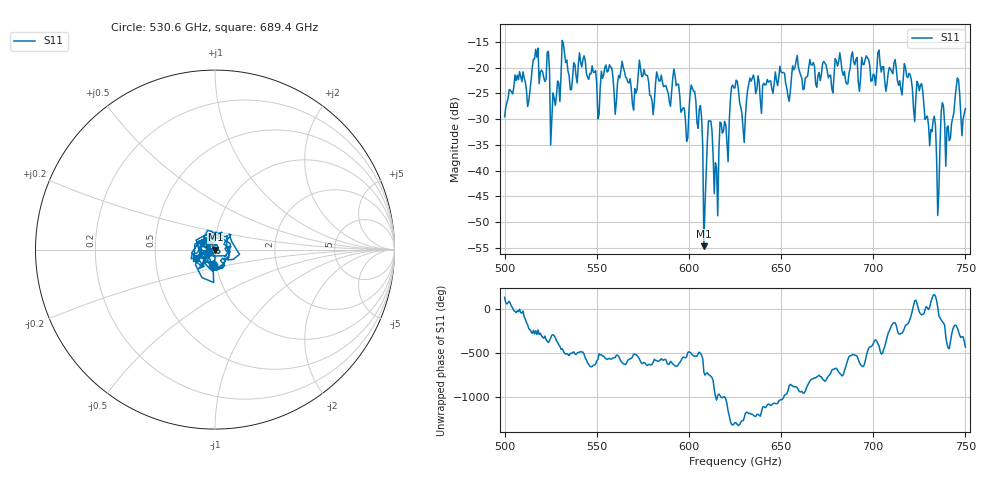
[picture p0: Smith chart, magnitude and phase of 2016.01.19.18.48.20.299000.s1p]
!Created with skrf (http://scikit-rf.org).
# GHz S RI R 50.0
!freq ReS11 ImS11
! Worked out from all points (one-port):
!   401 points, 500 GHz to 750 GHz, reference 50 ohm
!   lowest |S11| = -54.7 dB at 608.1 GHz (marker M1), VSWR 1.00, Z = 50.2 + j0.0115 ohm
!   |S11| at or under -10 dB: start of sweep to end of sweep
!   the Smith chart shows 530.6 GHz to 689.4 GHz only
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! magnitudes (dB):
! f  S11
! 500 GHz  -29.5
! 506.9 GHz  -21.5
! 513.1 GHz  -26.5
! 516.9 GHz  -16.4
! 523.1 GHz  -17.1
! 526.2 GHz  -24.9
! 531.2 GHz  -14.7
! 550.6 GHz  -30.0
! 562.5 GHz  -22.0
! 593.8 GHz  -23.2
! 598.8 GHz  -34.3
! 602.5 GHz  -24.6
! 606.2 GHz  -27.4
! 608.1 GHz  -54.7
! 611.2 GHz  -30.4
! 615 GHz  -39.5
! 625 GHz  -23.9
! 629.4 GHz  -31.9
! 633.8 GHz  -22.6
! 656.2 GHz  -19.6
! 687.5 GHz  -20.2
! 718.8 GHz  -22.0
! 732.5 GHz  -30.2
! 735 GHz  -48.7
! 737.5 GHz  -26.8
! 740.6 GHz  -31.3
! 745.6 GHz  -22.0
! 750 GHz  -27.9
